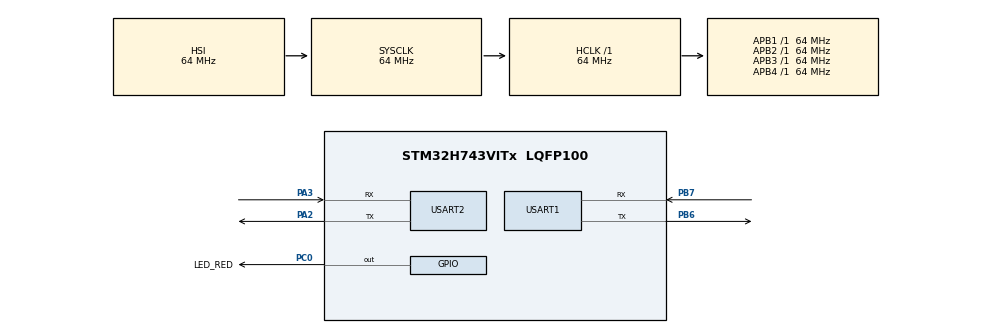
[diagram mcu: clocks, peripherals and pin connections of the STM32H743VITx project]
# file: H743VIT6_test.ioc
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CORTEX_M7.default_mode_Activation=1
Dma.Request0=USART1_RX
Dma.USART1_RX.0.Direction=DMA_PERIPH_TO_MEMORY
Dma.USART1_RX.0.EventEnable=DISABLE
Dma.USART1_RX.0.FIFOMode=DMA_FIFOMODE_DISABLE
Dma.USART1_RX.0.Instance=DMA1_Stream0
Dma.USART1_RX.0.MemDataAlignment=DMA_MDATAALIGN_BYTE
Dma.USART1_RX.0.MemInc=DMA_MINC_ENABLE
Dma.USART1_RX.0.Mode=DMA_CIRCULAR
Dma.USART1_RX.0.PeriphDataAlignment=DMA_PDATAALIGN_BYTE
Dma.USART1_RX.0.PeriphInc=DMA_PINC_DISABLE
Dma.USART1_RX.0.Polarity=HAL_DMAMUX_REQ_GEN_RISING
Dma.USART1_RX.0.Priority=DMA_PRIORITY_LOW
Dma.USART1_RX.0.RequestNumber=1
Dma.USART1_RX.0.SignalID=NONE
Dma.USART1_RX.0.SyncEnable=DISABLE
Dma.USART1_RX.0.SyncPolarity=HAL_DMAMUX_SYNC_NO_EVENT
Dma.USART1_RX.0.SyncRequestNumber=1
Dma.USART1_RX.0.SyncSignalID=NONE
Mcu.Family=STM32H7
Mcu.Name=STM32H743VITx
Mcu.Package=LQFP100
NVIC.DMA1_Stream0_IRQn=true\:0\:0\:false\:false\:true\:false\:true\:true
NVIC.PriorityGroup=NVIC_PRIORITYGROUP_4
NVIC.USART1_IRQn=true\:0\:0\:false\:false\:true\:true\:true\:true
PA13\ (JTMS/SWDIO).Signal=DEBUG_JTMS-SWDIO
PA14\ (JTCK/SWCLK).Signal=DEBUG_JTCK-SWCLK
PA2.Mode=Asynchronous
PA2.Signal=USART2_TX
PA3.Mode=Asynchronous
PA3.Signal=USART2_RX
PB6.Mode=Asynchronous
PB6.Signal=USART1_TX
PB7.Mode=Asynchronous
PB7.Signal=USART1_RX
PC0.GPIO_Label=LED_RED
PC0.Signal=GPIO_Output
PH0-OSC_IN\ (PH0).Mode=HSE-External-Oscillator
PH0-OSC_IN\ (PH0).Signal=RCC_OSC_IN
PH1-OSC_OUT\ (PH1).Mode=HSE-External-Oscillator
PH1-OSC_OUT\ (PH1).Signal=RCC_OSC_OUT
ProjectManager.HeapSize=0x200
ProjectManager.StackSize=0x400
ProjectManager.TargetToolchain=STM32CubeIDE
RCC.ADCFreq_Value=129000000
RCC.APB1Freq_Value=64000000
RCC.APB2Freq_Value=64000000
RCC.APB3Freq_Value=64000000
RCC.APB4Freq_Value=64000000
RCC.CortexFreq_Value=64000000
RCC.HCLKFreq_Value=64000000
RCC.SYSCLKFreq_VALUE=64000000
RCC.USBFreq_Value=129000000
USART1.VirtualMode-Asynchronous=VM_ASYNC
USART2.VirtualMode-Asynchronous=VM_ASYNC
board=custom

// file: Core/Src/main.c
/* USER CODE BEGIN Header */
/**
  ******************************************************************************
  * @file           : main.c
  * @brief          : Main program body
  ******************************************************************************
  * @attention
  *
  * Copyright (c) 2026 STMicroelectronics.
  * All rights reserved.
  *
  * This software is licensed under terms that can be found in the LICENSE file
  * in the root directory of this software component.
  * If no LICENSE file comes with this software, it is provided AS-IS.
  *
  ******************************************************************************
  */
/* USER CODE END Header */
#include "main.h"
#include "dma.h"
#include "usart.h"
#include "gpio.h"

/* USER CODE BEGIN Includes */
#include "esp01s.h"
/* USER CODE END Includes */

/* USER CODE BEGIN PV */
ESP01S_HandleTypeDef hesp01s;
/* USER CODE END PV */

void SystemClock_Config(void);
static void MPU_Config(void);
/* USER CODE BEGIN PFP */
extern char esp_rx_buf[];
/* USER CODE END PFP */

/* USER CODE BEGIN 0 */
#include <stdio.h>

// 专门针对 STM32CubeIDE / GCC 的标准重定向函数
int _write(int file, char *ptr, int len)
{
    // 强制通过 USART2 发�??
    HAL_UART_Transmit(&huart2, (uint8_t *)ptr, len, HAL_MAX_DELAY);
    return len;
}
/* USER CODE END 0 */

int main(void)
{

  /* MPU Configuration--------------------------------------------------------*/
  MPU_Config();

  /* MCU Configuration--------------------------------------------------------*/

  /* Reset of all peripherals, Initializes the Flash interface and the Systick. */
  HAL_Init();

  /* Configure the system clock */
  SystemClock_Config();

  /* Initialize all configured peripherals */
  MX_GPIO_Init();
  MX_DMA_Init();
  MX_USART1_UART_Init();
  MX_USART2_UART_Init();
  /* USER CODE BEGIN 2 */

  printf("\r\n\r\n==================================================\r\n");
  printf("         STM32H743VIT6 ESP-01S DEBUG SYSTEM       \r\n");
  printf("==================================================\r\n");

  // 1. Init ESP-01S Driver (USART1)
  ESP01S_Init(&hesp01s, &huart1);
  printf("[INFO] Driver bound to USART1 successfully.\r\n");

  // 2. Hardware delay for module stabilization
  printf("[INFO] Waiting for ESP-01S module ready...\r\n");
  HAL_Delay(1000);

  // 3. Test AT Command
  printf("[INFO] Sending 'AT' command...\r\n");
  if (ESP01S_SendAT(&hesp01s, "AT\r\n", "OK", 1000) == HAL_OK) {
      printf("[SUCCESS] ESP-01S communication OK!\r\n");
      HAL_GPIO_WritePin(GPIOC, GPIO_PIN_0, GPIO_PIN_RESET); // Light up LED_RED
  } else {
      printf("[ERROR] ESP-01S AT response TIMEOUT!\r\n");
      Error_Handler();
  }

  // 4. Set Wi-Fi Mode to Station
  if (ESP01S_SendAT(&hesp01s, "AT+CWMODE=1\r\n", "OK", 1000) == HAL_OK) {
      printf("[SUCCESS] Wi-Fi Mode set to STATION.\r\n");
  } else {
      printf("[ERROR] Failed to set Wi-Fi Mode.\r\n");
  }

  // 5. Connect to Wi-Fi Router
  uint8_t wifi_retry = 0;
  HAL_StatusTypeDef wifi_status = HAL_TIMEOUT;

  printf("[INFO] Connecting to Wi-Fi AP...\r\n");
  while (wifi_retry < 3) {
      // !!! 请将下面的 "Your_WiFi_Name" 和 "12345678" 替换为您真实的2.4G WiFi名称和密码 !!!
      wifi_status = ESP01S_SendAT(&hesp01s, "AT+CWJAP=\"Your_WiFi_Name\",\"12345678\"\r\n", "OK", 12000);

      if (wifi_status == HAL_OK) {
          printf("[SUCCESS] Wi-Fi Connected! (Attempt %d)\r\n", wifi_retry + 1);
          break;
      } else {
          wifi_retry++;
          printf("[WARNING] Wi-Fi Connection failed (Attempt %d/3). Retrying...\r\n", wifi_retry);
          HAL_Delay(2000);
      }
  }

  if (wifi_status != HAL_OK) {
      printf("[FATAL] Wi-Fi connection failed permanently!\r\n");

  }

  // 6. Connect to TCP Server
  printf("[INFO] Connecting to TCP Server (183.230.40.39:6002) ...\r\n");
  if (ESP01S_SendAT(&hesp01s, "AT+CIPSTART=\"TCP\",\"183.230.40.39\",6002\r\n", "OK", 6000) == HAL_OK) {
      printf("[SUCCESS] TCP Connection established with server!\r\n");
      printf("================ SETUP CONFIG DONE ================\r\n\r\n");
  } else {
      printf("[ERROR] TCP Connection failed!\r\n");
  }

  /* USER CODE END 2 */

  /* Infinite loop */
  while (1)
  {

    /* USER CODE BEGIN 3 */
	    HAL_GPIO_TogglePin(GPIOC,GPIO_PIN_0);
	    HAL_Delay(500);
  }
  /* USER CODE END 3 */
}

void SystemClock_Config(void)
{
  RCC_OscInitTypeDef RCC_OscInitStruct = {0};
  RCC_ClkInitTypeDef RCC_ClkInitStruct = {0};

  /** Supply configuration update enable
  */
  HAL_PWREx_ConfigSupply(PWR_LDO_SUPPLY);

  /** Configure the main internal regulator output voltage
  */
  __HAL_PWR_VOLTAGESCALING_CONFIG(PWR_REGULATOR_VOLTAGE_SCALE3);

  while(!__HAL_PWR_GET_FLAG(PWR_FLAG_VOSRDY)) {}

  /** Initializes the RCC Oscillators according to the specified parameters
  * in the RCC_OscInitTypeDef structure.
  */
  RCC_OscInitStruct.OscillatorType = RCC_OSCILLATORTYPE_HSI;
  RCC_OscInitStruct.HSIState = RCC_HSI_DIV1;
  RCC_OscInitStruct.HSICalibrationValue = RCC_HSICALIBRATION_DEFAULT;
  RCC_OscInitStruct.PLL.PLLState = RCC_PLL_NONE;
  if (HAL_RCC_OscConfig(&RCC_OscInitStruct) != HAL_OK)
  {
    Error_Handler();
  }

  /** Initializes the CPU, AHB and APB buses clocks
  */
  RCC_ClkInitStruct.ClockType = RCC_CLOCKTYPE_HCLK|RCC_CLOCKTYPE_SYSCLK
                              |RCC_CLOCKTYPE_PCLK1|RCC_CLOCKTYPE_PCLK2
                              |RCC_CLOCKTYPE_D3PCLK1|RCC_CLOCKTYPE_D1PCLK1;
  RCC_ClkInitStruct.SYSCLKSource = RCC_SYSCLKSOURCE_HSI;
  RCC_ClkInitStruct.SYSCLKDivider = RCC_SYSCLK_DIV1;
  RCC_ClkInitStruct.AHBCLKDivider = RCC_HCLK_DIV1;
  RCC_ClkInitStruct.APB3CLKDivider = RCC_APB3_DIV1;
  RCC_ClkInitStruct.APB1CLKDivider = RCC_APB1_DIV1;
  RCC_ClkInitStruct.APB2CLKDivider = RCC_APB2_DIV1;
  RCC_ClkInitStruct.APB4CLKDivider = RCC_APB4_DIV1;

  if (HAL_RCC_ClockConfig(&RCC_ClkInitStruct, FLASH_LATENCY_1) != HAL_OK)
  {
    Error_Handler();
  }
}

 /* MPU Configuration */

void MPU_Config(void)
{
  MPU_Region_InitTypeDef MPU_InitStruct = {0};

  /* Disables the MPU */
  HAL_MPU_Disable();

  /** Initializes and configures the Region and the memory to be protected
  */
  MPU_InitStruct.Enable = MPU_REGION_ENABLE;
  MPU_InitStruct.Number = MPU_REGION_NUMBER0;
  MPU_InitStruct.BaseAddress = 0x0;
  MPU_InitStruct.Size = MPU_REGION_SIZE_4GB;
  MPU_InitStruct.SubRegionDisable = 0x87;
  MPU_InitStruct.TypeExtField = MPU_TEX_LEVEL0;
  MPU_InitStruct.AccessPermission = MPU_REGION_NO_ACCESS;
  MPU_InitStruct.DisableExec = MPU_INSTRUCTION_ACCESS_DISABLE;
  MPU_InitStruct.IsShareable = MPU_ACCESS_SHAREABLE;
  MPU_InitStruct.IsCacheable = MPU_ACCESS_NOT_CACHEABLE;
  MPU_InitStruct.IsBufferable = MPU_ACCESS_NOT_BUFFERABLE;

  HAL_MPU_ConfigRegion(&MPU_InitStruct);
  /* Enables the MPU */
  HAL_MPU_Enable(MPU_PRIVILEGED_DEFAULT);

}

void Error_Handler(void)
{
  __disable_irq();
  while (1)
  {
  }
}
